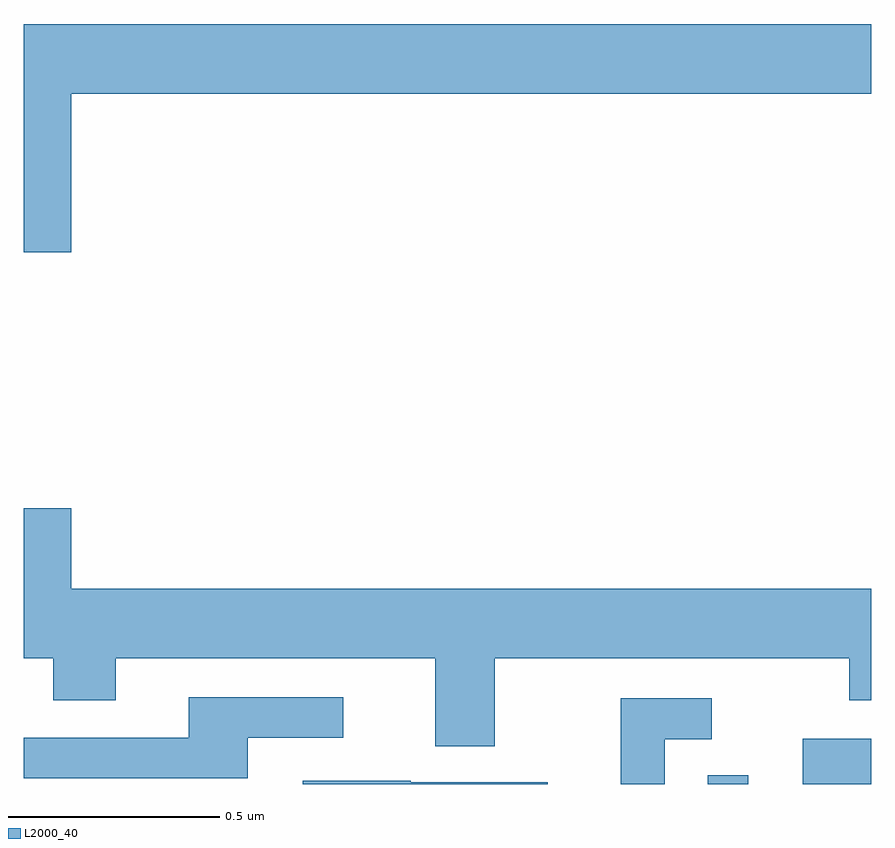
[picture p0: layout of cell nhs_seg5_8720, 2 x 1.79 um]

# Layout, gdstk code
import gdstk
lib = gdstk.Library(unit=1e-6, precision=1e-09)
def R(c, l, rs):  # rectangles x0, y0, x1, y1
    for r in rs: c.add(gdstk.rectangle(r[:2], r[2:], *l))
def P(c, l, *ps):  # polygons
    for p in ps: c.add(gdstk.Polygon(p, *l))
L2000_40 = (2000, 40)

nhs_seg5_8720 = lib.new_cell('nhs_seg5_8720')
R(nhs_seg5_8720, L2000_40, [(226.614,853.799,226.71,853.82), (226.838,853.799,227,853.906)])
P(nhs_seg5_8720, L2000_40, [(225.112,855.428),(227,855.428),(227,855.592),(225,855.592),(225,855.054),(225.112,855.054)],
  [(226.111,854.096),(226.948,854.096),(226.948,853.997),(227,853.997),(227,854.26),(225.112,854.26),(225.112,854.449),(225,854.449),(225,854.096),(225.07,854.096),(225.07,853.997),(225.217,853.997),(225.217,854.096),(225.971,854.096),(225.971,853.888),(226.111,853.888)],
  [(225.529,853.908),(225.754,853.908),(225.754,854.004),(225.389,854.004),(225.389,853.908),(225,853.908),(225,853.812),(225.529,853.812)],
  [(226.513,853.905),(226.624,853.905),(226.624,854.001),(226.409,854.001),(226.409,853.799),(226.513,853.799)],
  [(226.237,853.803),(225.913,853.803),(225.913,853.807),(225.659,853.807),(225.659,853.799),(226.237,853.799)])

lib.write_gds('nhs_seg5_8720.gds')
